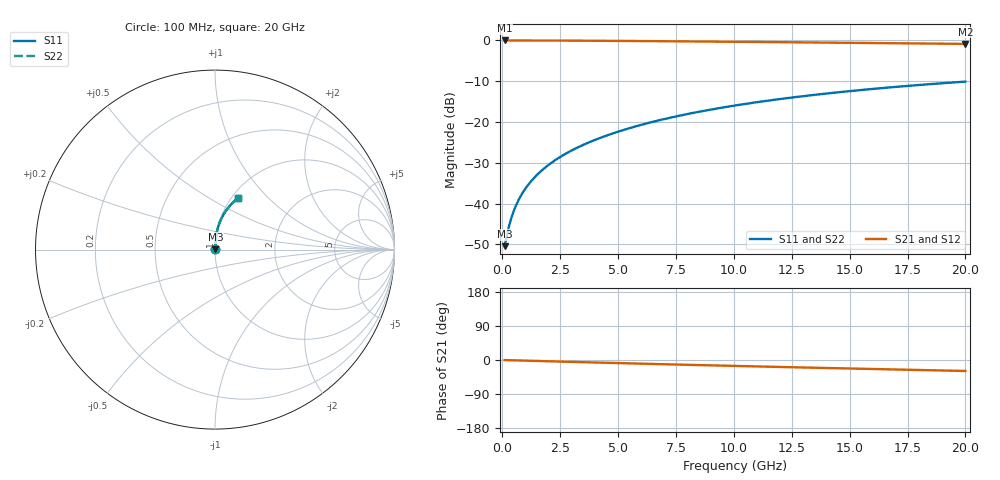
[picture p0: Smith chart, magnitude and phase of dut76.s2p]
! Touchstone file exported from HFSS 2024.1.0
!  File:  C:/UserFiles/LocalFiles/RDL_TSV_Batchsim/temp_RDL_top_76_1778682280.aedt
!  Generated:  10:27:12 PM May 13, 2026
!  Design:  RDL_top
!  Project:  temp_RDL_top_76_1778682280
!  Setup:  Setup1
!  Solution:  Sweep
! Variables:
!  dtsv = 10.80580581um
!  hbump = 3um
!  htsv = 78.01um
!  ldown = 100um
!  lrdl = 356.81um
!  p = 40
!  p1 = 53.76um
!  rhole = 1um
!  t = 450um
!  tdown = 3.915915916um
!  trdl = 2.64um
!  wdown = 15.38538539um
!  wrdl = 20.95um
# GHz S MA R 50.000000
! Terminal data exported
! Port[1] = Box2_T1
! Port[2] = Box2_T2
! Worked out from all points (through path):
!   200 points, 100 MHz to 20 GHz, reference 50 ohm
!   highest |S21| = -0.02 dB at 100 MHz (marker M1); lowest = -0.9 dB at 20 GHz (marker M2)
!   group delay of S21, straight-line fit = 3.99 ps
!   lowest |S11| = -50.4 dB at 100 MHz (marker M3), VSWR 1.01, Z = 50.3 + j0.16 ohm
!   |S11| at or under -10 dB: start of sweep to end of sweep
!   |S22| runs from -50.4 to -10.1 dB; largest |S21 - S12| = 5.1e-15
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0.1  0.00301 32.0  0.9974 -0.2  0.9974 -0.2  0.00301 32.0
! Gamma 0 0 0 0
! Port Impedance 50 0 50 0
0.2  0.004108 50.4  0.9974 -0.3  0.9974 -0.3  0.004108 50.4
0.3  0.005425 60.1  0.9972 -0.5  0.9972 -0.5  0.005425 60.1
0.4  0.006809 65.7  0.9971 -0.7  0.9971 -0.7  0.006809 65.7
0.5  0.008211 69.4  0.997 -0.9  0.997 -0.9  0.008211 69.4
0.6  0.009619 72.0  0.9969 -1.0  0.9969 -1.0  0.009619 72.0
0.8  0.01245 75.6  0.9966 -1.4  0.9966 -1.4  0.01245 75.6
1.1  0.01672 78.9  0.9962 -1.9  0.9962 -1.9  0.01672 78.9
1.3  0.0196 80.3  0.9959 -2.2  0.9959 -2.2  0.0196 80.3
1.6  0.02396 81.8  0.9955 -2.7  0.9955 -2.7  0.02396 81.8
2.1  0.03132 83.4  0.9945 -3.5  0.9945 -3.5  0.03131 83.4
2.7  0.04029 84.4  0.9931 -4.5  0.9931 -4.5  0.04029 84.4
3.5  0.0525 85.0  0.9907 -5.8  0.9907 -5.8  0.0525 85.0
4.2  0.06341 85.1  0.9883 -6.9  0.9883 -6.9  0.0634 85.1
5  0.0761 84.9  0.9852 -8.2  0.9852 -8.2  0.07609 84.8
5.9  0.09063 84.3  0.9814 -9.6  0.9814 -9.6  0.09062 84.3
6.8  0.1054 83.6  0.9773 -10.9  0.9773 -10.9  0.1053 83.6
8.4  0.1318 81.9  0.9695 -13.3  0.9695 -13.3  0.1318 81.9
10.1  0.16 79.8  0.9607 -15.8  0.9607 -15.8  0.16 79.7
13.4  0.2137 75.2  0.9429 -20.3  0.9429 -20.3  0.2137 75.2
16.7  0.2648 70.6  0.9242 -24.7  0.9242 -24.7  0.2647 70.6
20  0.3125 66.1  0.9049 -28.9  0.9049 -28.9  0.3124 66.1
